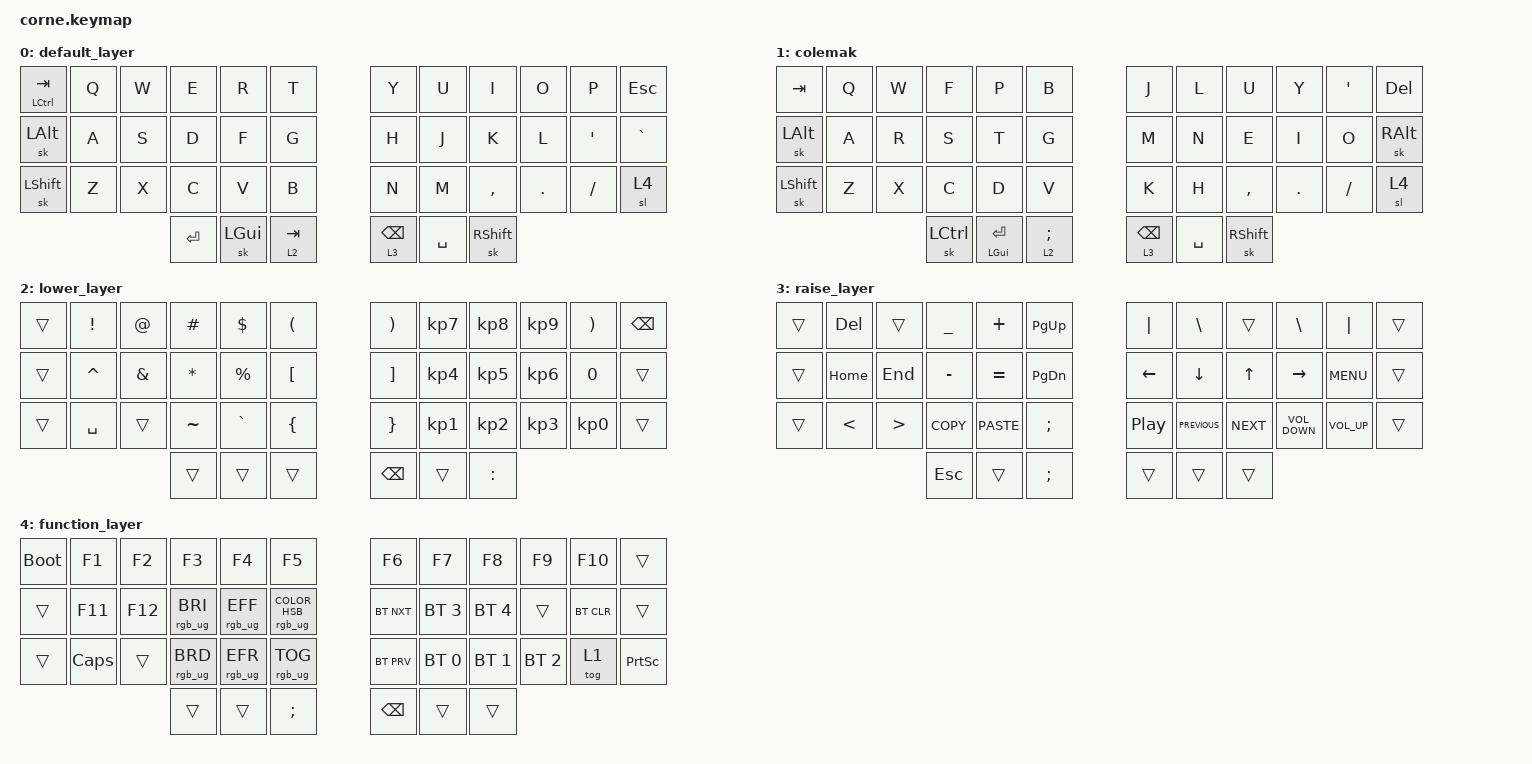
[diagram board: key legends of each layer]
/*
 * Copyright 2024 Michał Minarowski (@n3oney)
 * 
 * Originally created for QMK by Mark Stosberg (@markstos)
 * 
 * SPDX-License-Identifier: GPL-2.0-or-later
 */

#include <behaviors.dtsi>
#include <dt-bindings/zmk/bt.h>
#include <dt-bindings/zmk/keys.h>
#include <dt-bindings/zmk/rgb.h>

/ {
    combos {
        compatible = "zmk,combos";

        screenshot {
            bindings = <&kp LS(LG(NUMBER_4))>;
            key-positions = <1 13>;
        };

        screenrecord {
            bindings = <&kp LS(LG(N5))>;
            key-positions = <10 22>;
        };

        dash {
            bindings = <&kp MINUS>;
            key-positions = <15 16>;
        };

        escape {
            bindings = <&kp ESCAPE>;
            key-positions = <19 20>;
        };

        leftctrl {
            bindings = <&sk LEFT_CONTROL>;
            key-positions = <13 25>;
        };

        leftalt {
            bindings = <&sk LEFT_ALT>;
            key-positions = <14 26>;
        };

        leftcmd {
            bindings = <&sk LEFT_GUI>;
            key-positions = <15 27>;
        };

        leftshift {
            bindings = <&sk LEFT_SHIFT>;
            key-positions = <16 28>;
        };

        rightshift {
            bindings = <&sk RIGHT_SHIFT>;
            key-positions = <19 31>;
        };

        rightcmd {
            bindings = <&sk RIGHT_GUI>;
            key-positions = <20 32>;
        };

        rightalt {
            bindings = <&sk RIGHT_ALT>;
            key-positions = <21 33>;
        };

        rightctrl {
            bindings = <&sk RIGHT_CONTROL>;
            key-positions = <22 34>;
        };

        switch-app-windows-mac {
            bindings = <&kp LG(GRAVE)>;
            key-positions = <27 28>;
        };

        switch-input {
            bindings = <&kp LA(LC(SPACE))>;
            key-positions = <14 15 16>;
        };
    };

    keymap {
        compatible = "zmk,keymap";

        default_layer {
            bindings = <
&mt LEFT_CONTROL TAB  &kp Q  &kp W  &kp E      &kp R         &kp T        &kp Y            &kp U      &kp I            &kp O    &kp P             &kp ESCAPE
&sk LALT              &kp A  &kp S  &kp D      &kp F         &kp G        &kp H            &kp J      &kp K            &kp L    &kp SINGLE_QUOTE  &kp GRAVE
&sk LSHFT             &kp Z  &kp X  &kp C      &kp V         &kp B        &kp N            &kp M      &kp COMMA        &kp DOT  &kp FSLH          &sl 4
                                    &kp ENTER  &sk LEFT_GUI  &lt 2 TAB    &lt 3 BACKSPACE  &kp SPACE  &sk RIGHT_SHIFT
            >;
        };

        colemak {
            bindings = <
&kp TAB    &kp Q  &kp W  &kp F      &kp P               &kp B         &kp J            &kp L      &kp U            &kp Y    &kp SINGLE_QUOTE  &kp DELETE
&sk LALT   &kp A  &kp R  &kp S      &kp T               &kp G         &kp M            &kp N      &kp E            &kp I    &kp O             &sk RIGHT_ALT
&sk LSHFT  &kp Z  &kp X  &kp C      &kp D               &kp V         &kp K            &kp H      &kp COMMA        &kp DOT  &kp FSLH          &sl 4
                         &sk LCTRL  &mt LEFT_GUI ENTER  &lt 2 SEMI    &lt 3 BACKSPACE  &kp SPACE  &sk RIGHT_SHIFT
            >;
        };

        lower_layer {
            bindings = <
&trans  &kp EXCLAMATION  &kp AT_SIGN    &kp POUND  &kp DOLLAR   &kp LEFT_PARENTHESIS    &kp RIGHT_PARENTHESIS  &kp KP_NUMBER_7  &kp KP_NUMBER_8  &kp KP_NUMBER_9  &kp RIGHT_PARENTHESIS  &kp BSPC
&trans  &kp CARET        &kp AMPERSAND  &kp ASTRK  &kp PERCENT  &kp LEFT_BRACKET        &kp RIGHT_BRACKET      &kp KP_NUMBER_4  &kp KP_NUMBER_5  &kp KP_NUMBER_6  &kp NUMBER_0           &trans
&trans  &kp SPACE        &trans         &kp TILDE  &kp GRAVE    &kp LEFT_BRACE          &kp RIGHT_BRACE        &kp KP_NUMBER_1  &kp KP_NUMBER_2  &kp KP_NUMBER_3  &kp KP_NUMBER_0        &trans
                                        &trans     &trans       &trans                  &kp BACKSPACE          &trans           &kp COLON
            >;
        };

        raise_layer {
            bindings = <
&trans  &kp DELETE     &trans            &kp UNDERSCORE  &kp PLUS     &kp PAGE_UP      &kp PIPE          &kp BACKSLASH   &trans        &kp BACKSLASH      &kp PIPE         &trans
&trans  &kp HOME       &kp END           &kp MINUS       &kp EQUAL    &kp PAGE_DOWN    &kp LEFT          &kp DOWN        &kp UP_ARROW  &kp RIGHT          &kp K_MENU       &trans
&trans  &kp LESS_THAN  &kp GREATER_THAN  &kp K_COPY      &kp K_PASTE  &kp SEMICOLON    &kp C_PLAY_PAUSE  &kp C_PREVIOUS  &kp C_NEXT    &kp C_VOLUME_DOWN  &kp C_VOLUME_UP  &trans
                                         &kp ESCAPE      &trans       &kp SEMI         &trans            &trans          &trans
            >;
        };

        function_layer {
            bindings = <
&bootloader  &kp F1    &kp F2   &kp F3           &kp F4           &kp F5                               &kp F6         &kp F7        &kp F8        &kp F9        &kp F10     &trans
&trans       &kp F11   &kp F12  &rgb_ug RGB_BRI  &rgb_ug RGB_EFF  &rgb_ug RGB_COLOR_HSB(202,100,50)    &bt BT_NXT     &bt BT_SEL 3  &bt BT_SEL 4  &trans        &bt BT_CLR  &trans
&trans       &kp CAPS  &trans   &rgb_ug RGB_BRD  &rgb_ug RGB_EFR  &rgb_ug RGB_TOG                      &bt BT_PRV     &bt BT_SEL 0  &bt BT_SEL 1  &bt BT_SEL 2  &tog 1      &kp PRINTSCREEN
                                &trans           &trans           &kp SEMI                             &kp BACKSPACE  &trans        &trans
            >;
        };
    };
};
